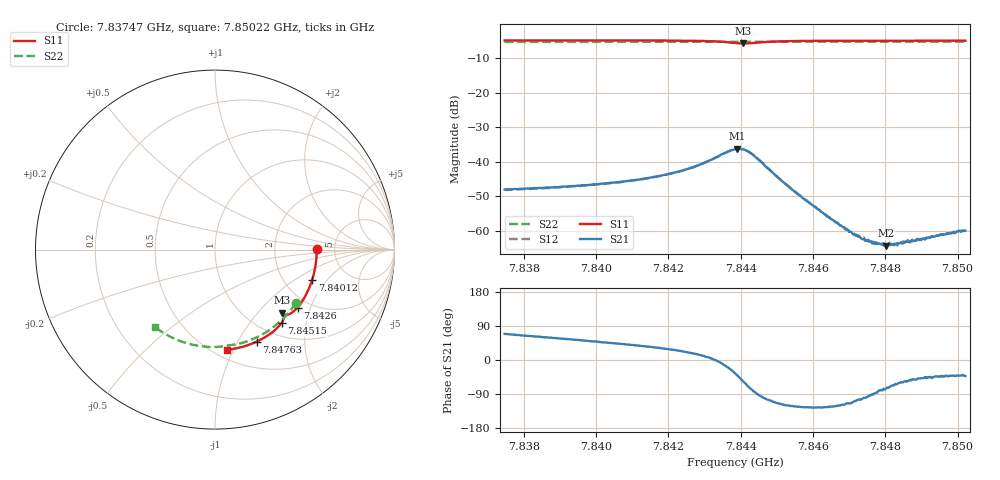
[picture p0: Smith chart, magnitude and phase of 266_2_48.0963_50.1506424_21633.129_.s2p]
#  HZ  S  RI  R  50.00
! Rohde & Schwarz Vector Network Analyzer
! Rohde-Schwarz,ZNB20-2Port,1311601062101988,3.16
! Created: UTC 12/23/2023, 4:01:17 AM
! freq[Hz]  re:S11  im:S11  re:S21  im:S21  re:S12  im:S12  re:S22  im:S22
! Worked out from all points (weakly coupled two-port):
!   401 points, 7.83747 GHz to 7.85022 GHz, reference 50 ohm
!   highest |S21| = -36.22 dB at 7.84391 GHz (marker M1); lowest = -64.2 dB at 7.84802 GHz (marker M2)
!   lowest |S11| = -5.8 dB at 7.84407 GHz (marker M3), VSWR 3.11, Z = 71.4 - j68.2 ohm
!   |S11| at or under -10 dB: nowhere
!   |S22| runs from -5.4 to -5.2 dB; largest |S21 - S12| = 0.00033
!   S11 on the Smith chart (normalised r, x): 7.83747 GHz: 3.61, +0.05; 7.84012 GHz: 2.83, -1.42; 7.8426 GHz: 1.73, -1.63; 7.84515 GHz: 1.24, -1.45; 7.84763 GHz: 0.80, -1.20; 7.85022 GHz: 0.58, -0.95
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7.837471e9  0.5663 0.00461  0.00143 0.00373  0.00147 0.00363  0.4499 -0.2978
7.839605e9  0.5504 -0.1365  0.00283 0.00361  0.00281 0.00354  0.3519 -0.4104
7.840115e9  0.5411 -0.1695  0.00323 0.00354  0.00319 0.00349  0.3242 -0.4328
7.841135e9  0.5156 -0.234  0.00433 0.00343  0.00428 0.0034  0.2643 -0.4721
7.84174e9  0.4962 -0.2715  0.00528 0.00332  0.00525 0.0033  0.2266 -0.4915
7.8426e9  0.46 -0.3227  0.00766 0.00268  0.0076 0.00269  0.1705 -0.5139
7.843365e9  0.4123 -0.3602  0.0118 -0.000667  0.0118 -0.000773  0.1182 -0.5275
7.843843e9  0.3776 -0.3598  0.0124 -0.00873  0.0125 -0.00874  0.0862 -0.5322
7.843907e9  0.3751 -0.3575  0.0117 -0.0101  0.0117 -0.00991  0.082 -0.5325
7.844066e9  0.3741 -0.3519  0.00843 -0.0127  0.00844 -0.0126  0.0721 -0.534
7.844353e9  0.3829 -0.355  0.00161 -0.0124  0.00181 -0.0125  0.0539 -0.5371
7.845149e9  0.3712 -0.4084  -0.00239 -0.00466  -0.00241 -0.00471  -0.00166 -0.5427
7.845978e9  0.3297 -0.4522  -0.00139 -0.00194  -0.00138 -0.00197  -0.0601 -0.5403
7.846934e9  0.2752 -0.4902  -0.000431 -0.000945  -0.000488 -0.000961  -0.1264 -0.5295
7.847411e9  0.2466 -0.5056  -0.000124 -0.000748  -0.000171 -0.00079  -0.1588 -0.5207
7.847634e9  0.2331 -0.5123  -2.73e-06 -0.000664  -3.27e-05 -0.000698  -0.1739 -0.5163
7.848017e9  0.2094 -0.5226  0.000155 -0.000595  0.000138 -0.000621  -0.1992 -0.5074
7.848112e9  0.2034 -0.5248  0.000213 -0.000646  0.000243 -0.000597  -0.2055 -0.5048
7.848272e9  0.1934 -0.5287  0.000292 -0.000576  0.00027 -0.000591  -0.2158 -0.5007
7.848431e9  0.1834 -0.5323  0.000358 -0.000579  0.000356 -0.000588  -0.2261 -0.4962
7.848654e9  0.1692 -0.5369  0.000402 -0.000569  0.000427 -0.000558  -0.2401 -0.4896
7.850215e9  0.0675 -0.5584  0.000753 -0.000685  0.000779 -0.000687  -0.3336 -0.4328
